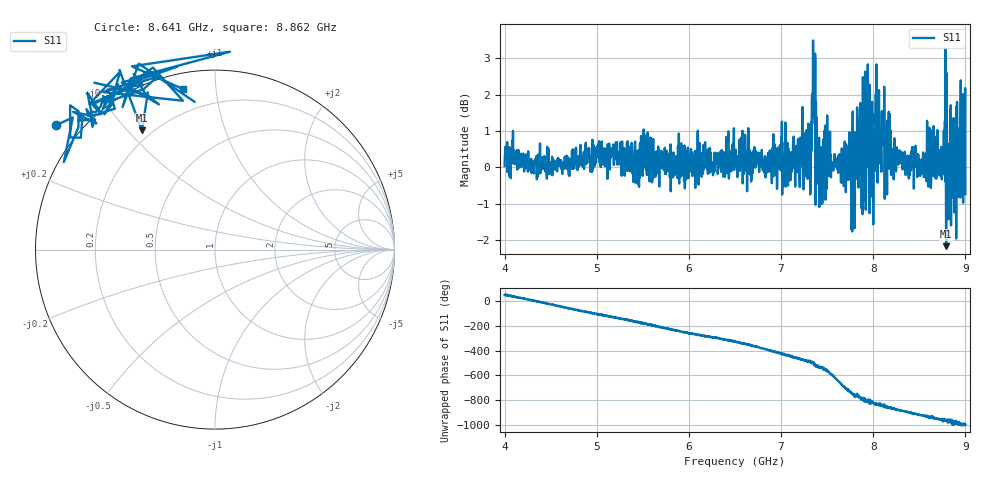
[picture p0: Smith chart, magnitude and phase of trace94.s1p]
! Created with skrf 1.8.0 (http://scikit-rf.org).
# Hz S RI R 50.0
!freq ReS11 ImS11
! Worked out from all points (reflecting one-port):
!   1601 points, 4 GHz to 9 GHz, reference 50 ohm
!   lowest |S11| = -2.2 dB at 8.791 GHz (marker M1), VSWR 8.04, Z = 8.13 + j27.4 ohm
!   phase of S11 starts at 49 deg and turns -1045 deg over the sweep
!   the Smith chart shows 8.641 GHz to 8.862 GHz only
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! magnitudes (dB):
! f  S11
! 4 GHz  0.0
! 4.625 GHz  -0.2
! 5.25 GHz  0.1
! 5.875 GHz  0.2
! 6.5 GHz  0.5
! 7.125 GHz  0.1
! 7.297 GHz  0.1
! 7.347 GHz  3.5
! 7.372 GHz  2.9
! 7.4 GHz  -0.5
! 7.425 GHz  0.4
! 7.509 GHz  0.3
! 7.75 GHz  -0.3
! 7.788 GHz  0.1
! 7.844 GHz  0.4
! 7.897 GHz  -0.2
! 7.928 GHz  0.2
! 7.962 GHz  2.3
! 7.981 GHz  -0.6
! 8.009 GHz  1.0
! 8.05 GHz  0.5
! 8.062 GHz  2.1
! 8.097 GHz  0.8
! 8.375 GHz  0.2
! 8.791 GHz  -2.2
! 8.919 GHz  0.0
! 8.972 GHz  0.2
! 9 GHz  -0.7
